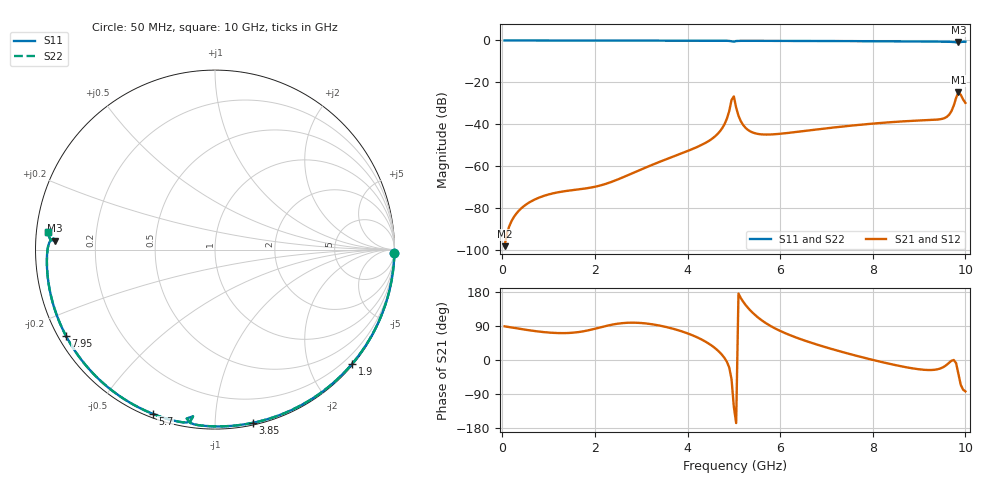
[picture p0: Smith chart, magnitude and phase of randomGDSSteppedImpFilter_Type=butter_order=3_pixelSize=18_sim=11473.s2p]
! freq	dB(S11)	phase(S11)	dB(S12)	phase(S12)
!  dB(S21)	phase(S21)	dB(S22)	phase(S22)
!S-par simulation data
#  GHz  S  DB  R 50
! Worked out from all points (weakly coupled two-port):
!   200 points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, 50 MHz to 10 GHz, reference 50 ohm
!   highest |S21| = -24.69 dB at 9.85 GHz (marker M1); lowest = -98.0 dB at 50 MHz (marker M2)
!   lowest |S11| = -1.0 dB at 9.85 GHz (marker M3), VSWR 18.00, Z = 2.78 + j1.38 ohm
!   |S11| at or under -10 dB: nowhere
!   |S22| runs from -1.0 to 0.0 dB; largest |S21 - S12| = 0
!   S11 on the Smith chart (normalised r, x): 50 MHz: open; 1.9 GHz: 0.03, -2.77; 3.85 GHz: 0.02, -1.24; 5.7 GHz: 0.02, -0.69; 7.95 GHz: 0.02, -0.27; 10 GHz: 0.03, +0.05
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0.05  -0.00 -1.1  -98.00 88.8  -98.00 88.8  -0.00 -1.1
0.4  -0.01 -8.5  -80.18 81.8  -80.18 81.8  -0.01 -8.5
0.9  -0.02 -19.0  -74.03 73.6  -74.03 73.6  -0.02 -19.0
1.75  -0.05 -36.6  -70.65 75.7  -70.65 75.7  -0.05 -36.6
1.9  -0.05 -39.7  -70.14 79.5  -70.14 79.5  -0.05 -39.7
3.4  -0.09 -69.3  -57.80 90.8  -57.80 90.8  -0.09 -69.3
3.85  -0.11 -77.8  -53.97 76.6  -53.97 76.6  -0.11 -77.8
4.65  -0.14 -92.7  -44.52 25.4  -44.52 25.4  -0.14 -92.7
4.8  -0.16 -95.7  -39.83 5.1  -39.83 5.1  -0.16 -95.7
4.95  -0.41 -99.5  -28.39 -50.3  -28.39 -50.3  -0.41 -99.5
5  -0.57 -97.5  -26.65 -123.5  -26.65 -123.5  -0.56 -97.5
5.05  -0.27 -98.2  -31.99 -166.5  -31.99 -166.5  -0.27 -98.2
5.15  -0.18 -100.7  -38.44 163.5  -38.44 163.5  -0.18 -100.7
5.25  -0.18 -102.7  -41.57 145.8  -41.57 145.8  -0.17 -102.7
5.7  -0.19 -110.8  -44.84 96.6  -44.84 96.6  -0.19 -110.8
6.7  -0.25 -128.2  -42.65 44.4  -42.65 44.4  -0.25 -128.2
7.95  -0.36 -149.8  -39.71 1.7  -39.71 1.7  -0.36 -149.8
8.35  -0.40 -156.9  -39.00 -9.8  -39.00 -9.8  -0.40 -156.8
9.55  -0.59 -179.1  -36.98 -16.8  -36.98 -16.8  -0.59 -179.0
9.7  -0.68 177.8  -33.63 -1.9  -33.63 -1.9  -0.68 177.8
9.85  -0.97 176.8  -24.69 -36.8  -24.69 -36.8  -0.97 176.9
10  -0.60 173.8  -29.75 -82.8  -29.75 -82.8  -0.60 173.9
